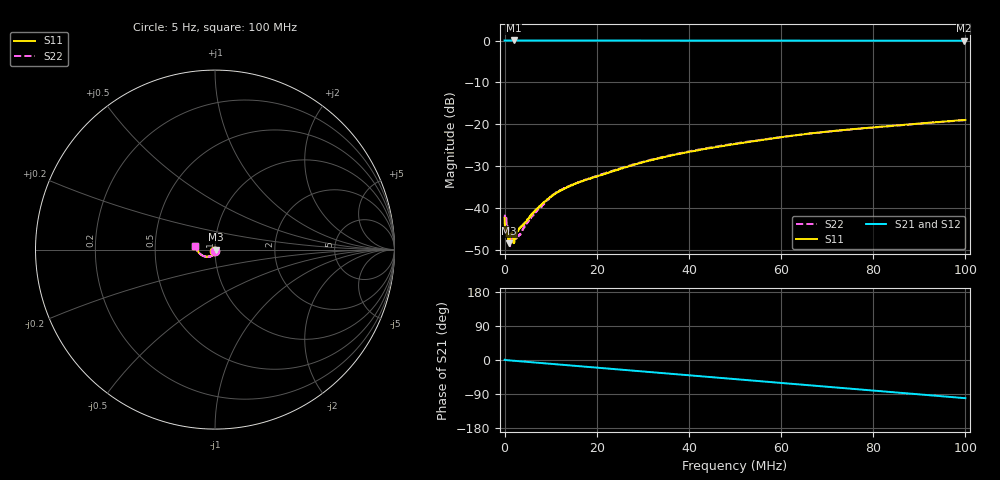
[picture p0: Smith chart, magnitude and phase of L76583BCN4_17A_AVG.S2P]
!Agilent Technologies,E5061B,MY49102235,A.02.00
!Date: Tue Jul 11 17:09:10 2023
!Data & Calibration Information:
!Freq	S11:SOLT2(ON)	S21:SOLT2(ON)	S12:SOLT2(ON)	S22:SOLT2(ON)
# Hz S RI R 50
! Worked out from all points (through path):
!   1600 points, 5 Hz to 100 MHz, reference 50 ohm
!   highest |S21| = 0.02 dB at 2.001 MHz (marker M1); lowest = 0.0 dB at 99.75 MHz (marker M2)
!   group delay of S21, straight-line fit = 2.8 ns
!   lowest |S11| = -48.4 dB at 1.001 MHz (marker M3), VSWR 1.01, Z = 50.4 - j0.0776 ohm
!   |S11| at or under -10 dB: start of sweep to end of sweep
!   |S22| runs from -49.0 to -19.0 dB; largest |S21 - S12| = 0.0029
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5  -0.00514 -0.00566  1.002 0.00791  1.001 0.0103  -0.00134 -0.00755
437778.6  0.00516 -0.000586  1.001 -0.00538  1.001 -0.00612  0.00662 -0.00221
625395.8  0.00511 -0.000618  1.002 -0.0106  1.002 -0.0102  0.0061 -0.000968
1000630  0.00372 -0.00077  1.001 -0.0166  1.001 -0.0159  0.0051 -0.0017
1563482  0.0043 -0.00287  1.001 -0.0265  1.001 -0.0253  0.0031 -0.00345
2001256  0.00298 -0.00279  1.002 -0.0353  1.001 -0.0347  0.00313 -0.00251
2376490  0.00326 -0.00295  1 -0.0416  1 -0.0415  0.00391 -0.00262
3252037  0.0042 -0.00413  0.9996 -0.0571  0.9992 -0.0566  0.00311 -0.00364
6003757  0.00328 -0.00778  0.9955 -0.1054  0.9954 -0.1048  0.00284 -0.00759
9505946  0.00143 -0.0129  0.9872 -0.1667  0.9871 -0.1662  0.000836 -0.0129
1.156974e7  -5.34e-05 -0.0158  0.9806 -0.2023  0.9801 -0.2018  -0.000935 -0.0159
1.669794e7  -0.00387 -0.0206  0.9577 -0.2898  0.9575 -0.2892  -0.00427 -0.0206
2.582865e7  -0.0111 -0.0282  0.8992 -0.4392  0.8989 -0.4387  -0.00906 -0.0294
3.333334e7  -0.0198 -0.034  0.833 -0.5536  0.8329 -0.5531  -0.0185 -0.0351
4.033771e7  -0.0291 -0.0376  0.7583 -0.6515  0.7583 -0.6509  -0.0286 -0.0387
5.003127e7  -0.0431 -0.0392  0.6365 -0.7707  0.6365 -0.7701  -0.0433 -0.0402
6.672921e7  -0.0716 -0.0327  0.3853 -0.9205  0.3857 -0.9202  -0.0707 -0.0328
7.53596e7  -0.0846 -0.0231  0.2417 -0.9673  0.242 -0.9669  -0.0838 -0.024
8.33646e7  -0.0948 -0.0107  0.1037 -0.9911  0.1038 -0.9909  -0.0942 -0.0127
9.155722e7  -0.104 0.00402  -0.0398 -0.9947  -0.0395 -0.9945  -0.1037 0.000887
9.974984e7  -0.1111 0.0205  -0.182 -0.9775  -0.1815 -0.9776  -0.1107 0.0175
1e8  -0.1112 0.021  -0.1863 -0.9769  -0.1859 -0.9768  -0.1111 0.0182
